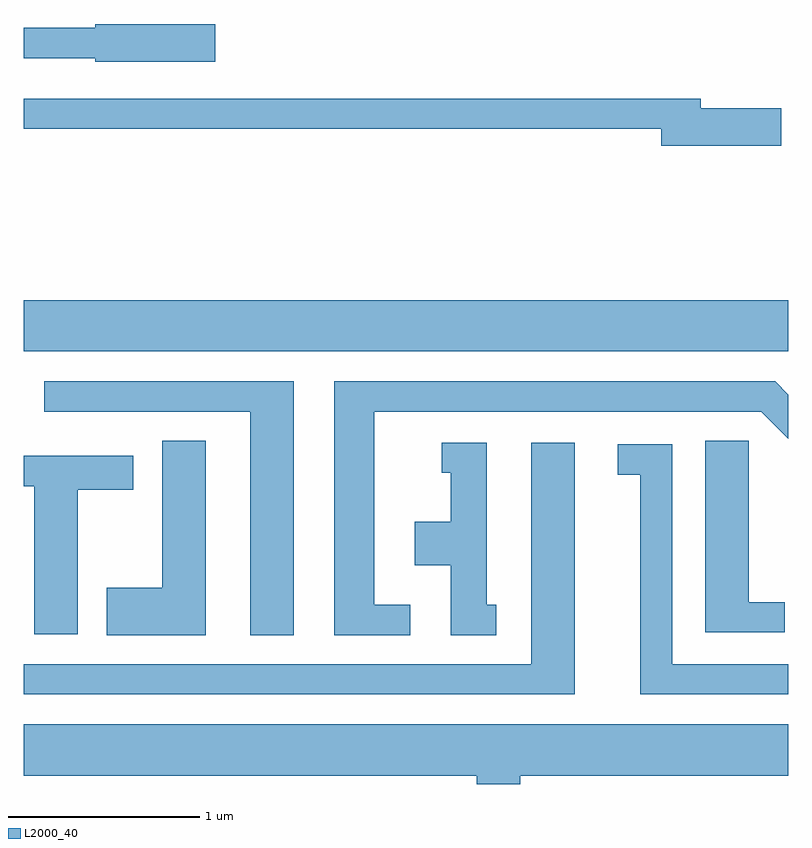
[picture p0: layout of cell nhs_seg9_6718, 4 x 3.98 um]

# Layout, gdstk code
import gdstk
lib = gdstk.Library(unit=1e-6, precision=1e-09)
def R(c, l, rs):  # rectangles x0, y0, x1, y1
    for r in rs: c.add(gdstk.rectangle(r[:2], r[2:], *l))
def P(c, l, *ps):  # polygons
    for p in ps: c.add(gdstk.Polygon(p, *l))
L2000_40 = (2000, 40)

nhs_seg9_6718 = lib.new_cell('nhs_seg9_6718')
R(nhs_seg9_6718, L2000_40, [(383.611,2000.696,387.611,2000.964)])
P(nhs_seg9_6718, L2000_40, [(384.614,2002.409),(383.986,2002.409),(383.986,2002.389),(383.611,2002.389),(383.611,2002.231),(383.986,2002.231),(383.986,2002.211),(384.614,2002.211)],
  [(387.574,2001.969),(387.154,2001.969),(387.154,2002.019),(383.611,2002.019),(383.611,2001.861),(386.946,2001.861),(386.946,2001.771),(387.574,2001.771)],
  [(385.024,2000.539),(383.718,2000.539),(383.718,2000.381),(384.796,2000.381),(384.796,1999.211),(385.024,1999.211)],
  [(385.633,1999.369),(385.444,1999.369),(385.444,2000.381),(387.469,2000.381),(387.611,2000.239),(387.611,2000.47),(387.542,2000.539),(385.236,2000.539),(385.236,1999.211),(385.633,1999.211)],
  [(384.564,2000.229),(384.336,2000.229),(384.336,1999.459),(384.046,1999.459),(384.046,1999.211),(384.564,1999.211)],
  [(387.593,1999.384),(387.404,1999.384),(387.404,2000.229),(387.176,2000.229),(387.176,1999.226),(387.593,1999.226)],
  [(386.083,1999.369),(386.034,1999.369),(386.034,2000.219),(385.798,2000.219),(385.798,2000.061),(385.846,2000.061),(385.846,1999.804),(385.656,1999.804),(385.656,1999.576),(385.846,1999.576),(385.846,1999.211),(386.083,1999.211)],
  [(386.494,2000.219),(386.266,2000.219),(386.266,1999.059),(383.611,1999.059),(383.611,1998.901),(386.494,1998.901)],
  [(387.611,1999.059),(387.004,1999.059),(387.004,2000.209),(386.718,2000.209),(386.718,2000.051),(386.836,2000.051),(386.836,1998.901),(387.611,1998.901)],
  [(383.894,1999.971),(384.184,1999.971),(384.184,2000.149),(383.611,2000.149),(383.611,1999.991),(383.666,1999.991),(383.666,1999.216),(383.894,1999.216)],
  [(386.209,1998.476),(387.611,1998.476),(387.611,1998.744),(383.611,1998.744),(383.611,1998.476),(385.981,1998.476),(385.981,1998.432),(386.209,1998.432)])

lib.write_gds('nhs_seg9_6718.gds')
